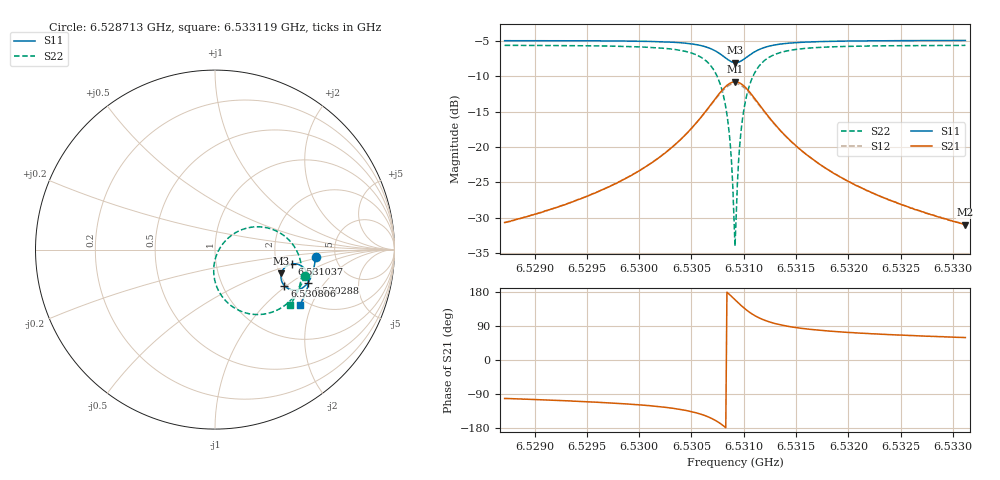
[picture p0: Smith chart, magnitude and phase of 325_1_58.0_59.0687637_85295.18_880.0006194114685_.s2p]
#  HZ  S  RI  R  50.00
! Rohde & Schwarz Vector Network Analyzer
! Rohde-Schwarz,ZNB20-2Port,1311601062101988,3.16
! Created: UTC 3/21/2024, 1:04:51 AM
! freq[Hz]  re:S11  im:S11  re:S21  im:S21  re:S12  im:S12  re:S22  im:S22
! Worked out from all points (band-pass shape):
!   401 points, 6.528713 GHz to 6.533119 GHz, reference 50 ohm
!   highest |S21| = -10.81 dB at 6.530916 GHz (marker M1); lowest = -30.9 dB at 6.533119 GHz (marker M2)
!   |S21| within 3 dB of the highest: 6.530696 GHz to 6.531137 GHz (441.4 kHz wide, 0.00676 % of centre)
!   lowest |S11| = -8.1 dB at 6.530916 GHz (marker M3), VSWR 2.29, Z = 102 - j31.7 ohm
!   |S11| at or under -10 dB: nowhere
!   |S22| runs from -34.0 to -5.7 dB; largest |S21 - S12| = 0.011
!   S11 on the Smith chart (normalised r, x): 6.528713 GHz: 3.50, -0.43; 6.530288 GHz: 2.61, -1.39; 6.530806 GHz: 1.94, -0.96; 6.531037 GHz: 2.43, -0.48; 6.533119 GHz: 1.83, -1.65
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6.5287128e9  0.56 -0.0422  -0.00591 -0.0288  -0.00642 -0.0286  0.4996 -0.1465
6.5294509e9  0.5511 -0.1029  -0.0146 -0.041  -0.0154 -0.0407  0.4712 -0.2136
6.530189e9  0.5246 -0.1741  -0.0459 -0.0707  -0.0478 -0.0694  0.3949 -0.3066
6.5302881e9  0.5168 -0.1856  -0.0566 -0.0774  -0.0589 -0.076  0.372 -0.3227
6.5306406e9  0.4541 -0.2252  -0.1527 -0.0956  -0.155 -0.0897  0.1892 -0.3572
6.5307398e9  0.4153 -0.2209  -0.2131 -0.0725  -0.2128 -0.0638  0.0861 -0.3096
6.5308059e9  0.3864 -0.2011  -0.256 -0.0282  -0.252 -0.0189  0.0193 -0.2283
6.5308609e9  0.3698 -0.1701  -0.2777 0.0318  -0.2699 0.0394  -0.00727 -0.1249
6.5308719e9  0.3683 -0.1627  -0.2788 0.0458  -0.2705 0.0528  -0.0069 -0.1015
6.530894e9  0.3677 -0.1471  -0.277 0.0744  -0.2676 0.0799  0.00071 -0.0546
6.530905e9  0.3687 -0.1391  -0.2739 0.0887  -0.2642 0.0933  0.00801 -0.0316
6.530916e9  0.3703 -0.1313  -0.2692 0.1027  -0.2594 0.1065  0.0178 -0.00919
6.530927e9  0.373 -0.124  -0.2635 0.1163  -0.2536 0.1191  0.0296 0.012
6.530938e9  0.3765 -0.1167  -0.2563 0.1291  -0.2466 0.1311  0.0432 0.0319
6.5309601e9  0.3853 -0.1039  -0.2386 0.152  -0.2293 0.1524  0.0759 0.0666
6.5309821e9  0.3964 -0.0936  -0.2178 0.1701  -0.2094 0.1693  0.1131 0.0935
6.5310372e9  0.4279 -0.0798  -0.1609 0.1954  -0.1551 0.1927  0.2114 0.126
6.5311143e9  0.4662 -0.0832  -0.0931 0.1936  -0.0902 0.1911  0.3254 0.1106
6.5312245e9  0.4988 -0.1056  -0.0359 0.1641  -0.0346 0.1626  0.4184 0.0468
6.5316541e9  0.5205 -0.1813  0.0139 0.0812  0.0148 0.0809  0.483 -0.1294
6.5323921e9  0.5006 -0.254  0.0164 0.0389  0.0172 0.0387  0.4556 -0.2445
6.5331192e9  0.4726 -0.3073  0.0145 0.0244  0.015 0.0242  0.4204 -0.3067
